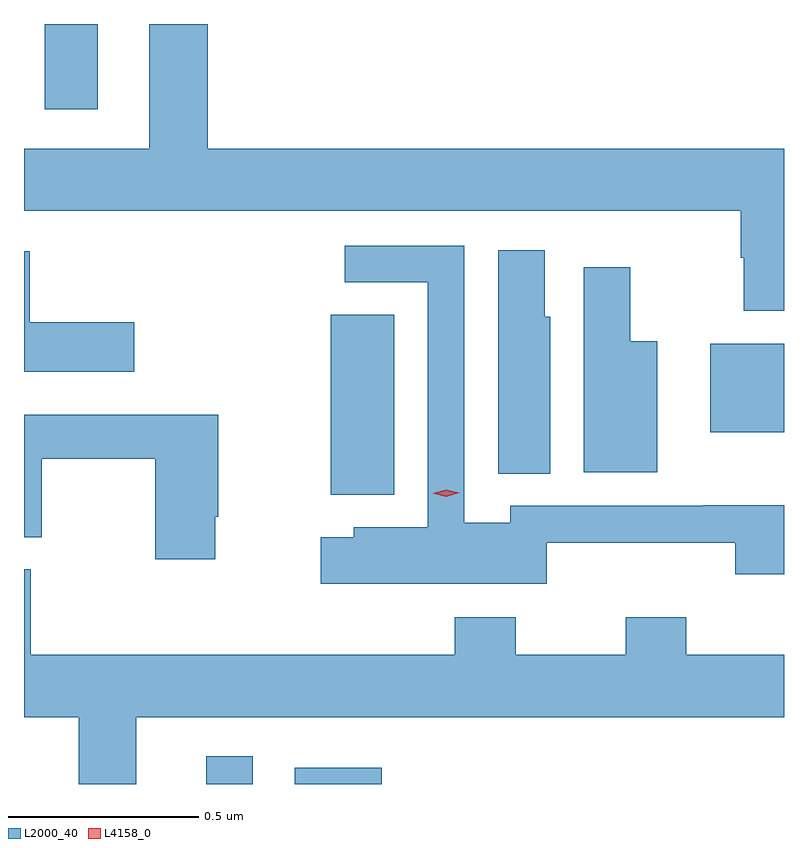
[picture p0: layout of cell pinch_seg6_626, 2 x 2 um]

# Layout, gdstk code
import gdstk
lib = gdstk.Library(unit=1e-6, precision=1e-09)
def R(c, l, rs):  # rectangles x0, y0, x1, y1
    for r in rs: c.add(gdstk.rectangle(r[:2], r[2:], *l))
def P(c, l, *ps):  # polygons
    for p in ps: c.add(gdstk.Polygon(p, *l))
L2000_40 = (2000, 40)
L4158_0 = (4158, 0)

pinch_seg6_626 = lib.new_cell('pinch_seg6_626')
R(pinch_seg6_626, L2000_40, [(495.815,981.792,495.937,981.865), (496.047,981.792,496.277,981.835), (496.142,982.553,496.309,983.027), (497.141,982.718,497.335,982.951), (495.389,983.568,495.529,983.792)])
P(pinch_seg6_626, L2000_40, [(497.335,983.464),(495.818,983.464),(495.818,983.792),(495.665,983.792),(495.665,983.464),(495.335,983.464),(495.335,983.3),(497.221,983.3),(497.221,983.177),(497.229,983.177),(497.229,983.037),(497.335,983.037)],
  [(496.71,982.427),(497.207,982.427),(497.207,982.344),(497.335,982.344),(497.335,982.526),(497.123,982.526),(497.123,982.524),(496.614,982.524),(496.614,982.48),(496.494,982.48),(496.494,983.208),(496.179,983.208),(496.179,983.112),(496.398,983.112),(496.398,982.468),(496.203,982.468),(496.203,982.441),(496.116,982.441),(496.116,982.319),(496.71,982.319)],
  [(496.72,983.022),(496.705,983.022),(496.705,983.197),(496.583,983.197),(496.583,982.609),(496.72,982.609)],
  [(495.625,983.007),(495.35,983.007),(495.35,983.194),(495.335,983.194),(495.335,982.877),(495.625,982.877)],
  [(497.002,982.957),(496.93,982.957),(496.93,983.152),(496.808,983.152),(496.808,982.613),(497.002,982.613)],
  [(495.838,982.495),(495.846,982.495),(495.846,982.764),(495.335,982.764),(495.335,982.442),(495.382,982.442),(495.382,982.648),(495.68,982.648),(495.68,982.383),(495.838,982.383)],
  [(495.631,981.968),(497.335,981.968),(497.335,982.132),(497.078,982.132),(497.078,982.231),(496.918,982.231),(496.918,982.132),(496.629,982.132),(496.629,982.231),(496.469,982.231),(496.469,982.132),(495.353,982.132),(495.353,982.357),(495.335,982.357),(495.335,981.968),(495.479,981.968),(495.479,981.792),(495.631,981.792)])
P(pinch_seg6_626, L4158_0, [(496.446,982.548),(496.411,982.557),(496.411,982.557),(496.411,982.557),(496.446,982.567),(496.481,982.558),(496.482,982.558),(496.481,982.558)])

lib.write_gds('pinch_seg6_626.gds')
